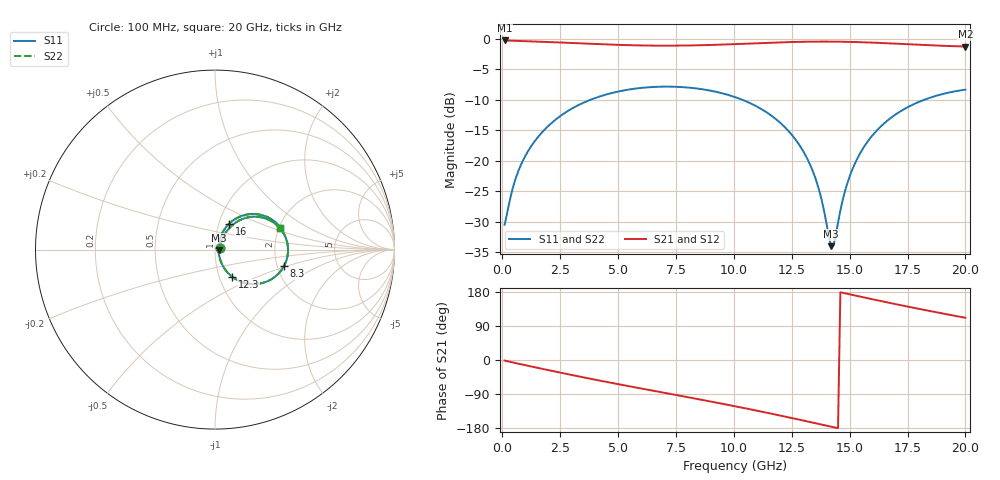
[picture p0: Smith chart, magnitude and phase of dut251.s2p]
! Touchstone file exported from HFSS 2026.1.0
!  File:  C:/ffzhzh/LocalFiles/Ansys_Project_Files/temp_train_TSV_RDL_251_1783067877_36532.aedt
!  Generated:  04:49:37 PM Jul  3, 2026
!  Design:  TSV_RDL
!  Project:  temp_train_TSV_RDL_251_1783067877_36532
! Variables:
!  h_bsmrdl = 2.18um
!  h_ox = 20um
!  h_rdl = 5um
!  h_sub = 50.86um
!  h_tmrdl = 2.06um
!  h_tsv = 50.86um
!  h_via = 3um
!  l_bsmrdl = 161.33um
!  l_sub = 4357.74um
!  l_tmrdl = 837.17um
!  m_sub = 200um
!  pitch = 41.7um
!  r_tsv = 11.93um
!  s_tmrdl = 10um
!  w_bsmrdl = 15.03um
!  w_sub = 500um
!  w_tmrdl = 26.66um
!  x_tsv_center1 = 850.5um
!  x_tsv_center2 = 1026.86um
!  x_tsv_center3 = 1890.69um
!  x_tsv_center4 = 2067.05um
!  x_tsv_center5 = 2930.88um
!  x_tsv_center6 = 3107.24um
# GHz S MA R 50.000000
! Terminal data exported
! Port[1] = TM_RDL1_1_T1
! Port[2] = TM_RDL5_1_T1
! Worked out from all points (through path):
!   200 points, 100 MHz to 20 GHz, reference 50 ohm
!   highest |S21| = -0.24 dB at 100 MHz (marker M1); lowest = -1.2 dB at 20 GHz (marker M2)
!   group delay of S21, straight-line fit = 34.3 ps
!   lowest |S11| = -34.0 dB at 14.2 GHz (marker M3), VSWR 1.04, Z = 52 - j0.409 ohm
!   |S11| at or under -10 dB: start of sweep to 3.786 GHz; 10.39 GHz to 18.2 GHz (7.813 GHz wide, 54.7 % of centre)
!   |S22| runs from -34.0 to -7.8 dB; largest |S21 - S12| = 1.7e-14
!   S11 on the Smith chart (normalised r, x): 100 MHz: 1.06, +0.02; 8.3 GHz: 2.18, -0.48; 12.3 GHz: 1.15, -0.36; 16 GHz: 1.12, +0.33; 20 GHz: 2.03, +0.59
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0.1  0.02999 22.0  0.9724 -1.5  0.9724 -1.5  0.02999 22.0
! Gamma 0 0 0 0
! Port Impedance 50 0 50 0
0.6  0.07392 55.9  0.9648 -8.5  0.9648 -8.5  0.0739 55.9
1.2  0.128 57.1  0.9558 -16.5  0.9558 -16.5  0.128 57.1
2.2  0.2104 50.3  0.9407 -29.5  0.9407 -29.5  0.2104 50.3
3.5  0.2999 37.6  0.9181 -45.8  0.9181 -45.8  0.2999 37.6
5.1  0.374 20.6  0.8936 -64.9  0.8936 -64.9  0.374 20.6
6.8  0.4062 2.5  0.8815 -84.3  0.8815 -84.3  0.4062 2.5
8.3  0.3949 -13.5  0.8863 -101.4  0.8863 -101.4  0.395 -13.6
10.1  0.3315 -33.3  0.9085 -122.6  0.9085 -122.6  0.3315 -33.4
12.3  0.1812 -57.5  0.9419 -150.5  0.9419 -150.5  0.1812 -57.6
12.9  0.1289 -62.7  0.948 -158.4  0.948 -158.4  0.129 -62.8
13.4  0.08342 -64.4  0.951 -165.1  0.951 -165.1  0.08344 -64.5
13.8  0.04724 -58.7  0.952 -170.5  0.952 -170.5  0.04723 -58.9
14.2  0.02003 -11.3  0.9516 -175.9  0.9516 -175.9  0.01993 -11.6
14.3  0.02019 15.1  0.9512 -177.3  0.9512 -177.3  0.02007 15.0
14.7  0.04773 60.9  0.9491 177.4  0.9491 177.4  0.04765 61.0
15  0.07459 66.0  0.9465 173.3  0.9465 173.3  0.07452 66.0
15.4  0.1108 65.8  0.9421 168.0  0.9421 168.0  0.1107 65.8
16  0.1632 61.5  0.9335 160.1  0.9335 160.1  0.1632 61.4
16.7  0.2195 54.5  0.9214 151.0  0.9214 151.0  0.2194 54.4
18.3  0.3214 37.0  0.8911 131.3  0.8911 131.3  0.3214 37.0
20  0.3843 18.7  0.8668 111.4  0.8668 111.4  0.3843 18.6
